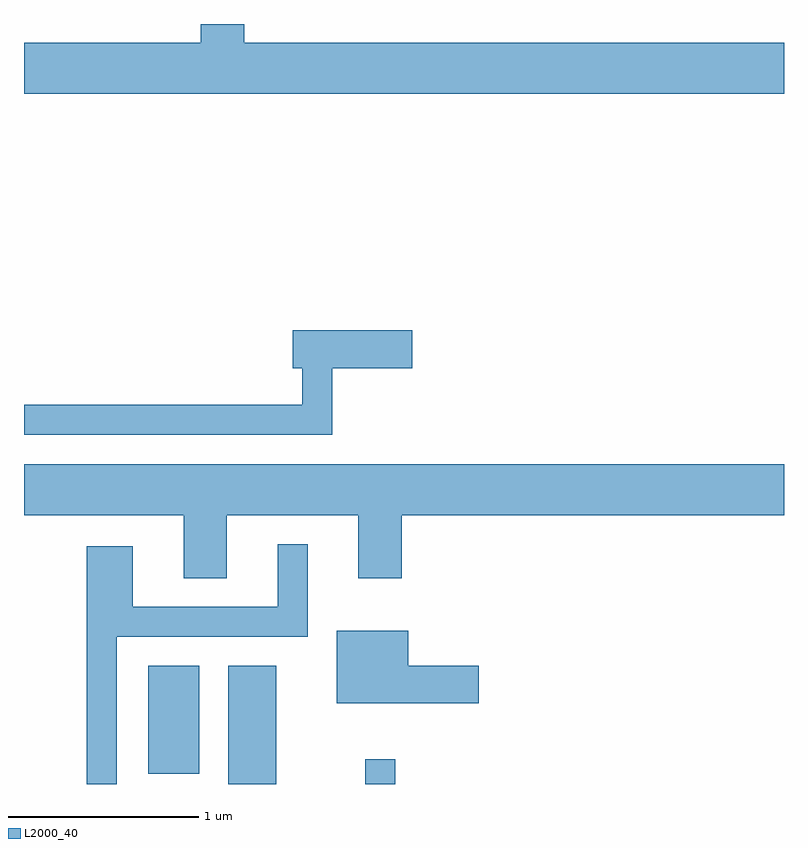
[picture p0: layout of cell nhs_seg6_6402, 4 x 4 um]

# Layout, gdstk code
import gdstk
lib = gdstk.Library(unit=1e-6, precision=1e-09)
def R(c, l, rs):  # rectangles x0, y0, x1, y1
    for r in rs: c.add(gdstk.rectangle(r[:2], r[2:], *l))
def P(c, l, *ps):  # polygons
    for p in ps: c.add(gdstk.Polygon(p, *l))
L2000_40 = (2000, 40)

nhs_seg6_6402 = lib.new_cell('nhs_seg6_6402')
R(nhs_seg6_6402, L2000_40, [(380.686,1564.162,380.939,1564.784), (381.406,1564.162,381.564,1564.293), (380.266,1564.216,380.534,1564.784)])
P(nhs_seg6_6402, L2000_40, [(383.611,1568.064),(380.769,1568.064),(380.769,1568.162),(380.541,1568.162),(380.541,1568.064),(379.611,1568.064),(379.611,1567.796),(383.611,1567.796)],
  [(381.234,1566.351),(381.654,1566.351),(381.654,1566.549),(381.026,1566.549),(381.026,1566.351),(381.076,1566.351),(381.076,1566.159),(379.611,1566.159),(379.611,1566.001),(381.234,1566.001)],
  [(380.679,1565.576),(381.371,1565.576),(381.371,1565.246),(381.599,1565.246),(381.599,1565.576),(383.611,1565.576),(383.611,1565.844),(379.611,1565.844),(379.611,1565.576),(380.451,1565.576),(380.451,1565.246),(380.679,1565.246)],
  [(380.099,1564.936),(381.104,1564.936),(381.104,1565.423),(380.946,1565.423),(380.946,1565.094),(380.184,1565.094),(380.184,1565.414),(379.941,1565.414),(379.941,1564.162),(380.099,1564.162)],
  [(382.004,1564.784),(381.634,1564.784),(381.634,1564.969),(381.256,1564.969),(381.256,1564.586),(382.004,1564.586)])

lib.write_gds('nhs_seg6_6402.gds')
